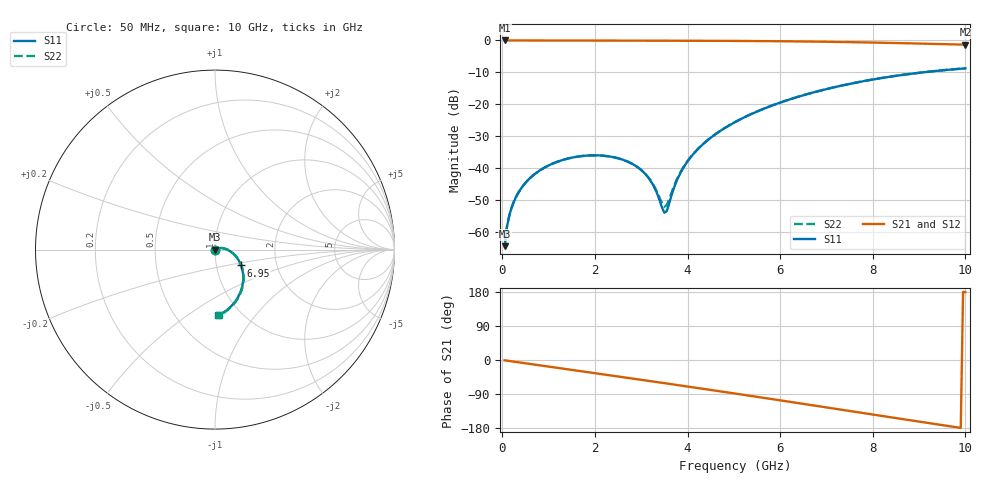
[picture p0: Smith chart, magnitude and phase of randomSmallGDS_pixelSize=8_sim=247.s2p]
! freq	dB(S11)	phase(S11)	dB(S12)	phase(S12)
!  dB(S21)	phase(S21)	dB(S22)	phase(S22)
!S-par simulation data
#  GHz  S  DB  R 50
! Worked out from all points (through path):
!   200 points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, 50 MHz to 10 GHz, reference 50 ohm
!   highest |S21| = 0.00 dB at 50 MHz (marker M1); lowest = -1.3 dB at 10 GHz (marker M2)
!   group delay of S21, straight-line fit = 50.4 ps
!   lowest |S11| = -64.3 dB at 50 MHz (marker M3), VSWR 1.00, Z = 50 - j0.0606 ohm
!   |S11| at or under -10 dB: start of sweep to 9.069 GHz
!   |S22| runs from -64.4 to -8.7 dB; largest |S21 - S12| = 0
!   S11 on the Smith chart (normalised r, x): 50 MHz: 1.00, -0.00; 6.95 GHz: 1.32, -0.24; 10 GHz: 0.79, -0.67
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0.05  -64.35 -88.0  -0.00 -0.9  -0.00 -0.9  -64.35 -88.0
0.1  -58.34 -90.3  -0.00 -1.8  -0.00 -1.8  -58.34 -90.4
0.2  -52.34 -92.9  -0.00 -3.5  -0.00 -3.5  -52.35 -92.9
0.35  -47.54 -95.9  -0.01 -6.1  -0.01 -6.1  -47.55 -96.0
0.5  -44.54 -98.8  -0.01 -8.7  -0.01 -8.7  -44.54 -98.9
1.05  -38.76 -109.2  -0.02 -18.3  -0.02 -18.3  -38.76 -109.4
1.75  -36.11 -122.6  -0.04 -30.4  -0.04 -30.4  -36.11 -123.1
2.35  -36.37 -134.8  -0.05 -40.9  -0.05 -40.9  -36.38 -135.7
2.85  -38.97 -146.8  -0.06 -49.6  -0.06 -49.6  -38.96 -148.6
3.2  -43.85 -161.0  -0.07 -55.8  -0.07 -55.8  -43.73 -164.8
3.4  -50.13 173.5  -0.07 -59.3  -0.07 -59.3  -49.37 166.5
3.5  -53.88 130.5  -0.07 -61.1  -0.07 -61.1  -51.99 127.0
3.55  -53.43 99.2  -0.08 -62.0  -0.08 -62.0  -51.54 101.7
3.8  -42.82 41.4  -0.08 -66.4  -0.08 -66.4  -42.51 45.8
4.05  -36.87 29.1  -0.09 -70.9  -0.09 -70.9  -36.75 31.8
4.45  -31.02 18.0  -0.11 -78.0  -0.11 -78.0  -30.97 19.7
5.05  -25.35 5.2  -0.15 -88.9  -0.15 -88.9  -25.32 6.3
5.8  -20.49 -9.5  -0.22 -102.7  -0.22 -102.7  -20.47 -8.6
6.7  -16.33 -26.6  -0.35 -119.5  -0.35 -119.5  -16.31 -25.8
6.95  -15.39 -31.3  -0.40 -124.2  -0.40 -124.2  -15.37 -30.6
8.35  -11.39 -57.3  -0.76 -150.5  -0.76 -150.5  -11.38 -56.7
10  -8.73 -87.0  -1.32 179.0  -1.32 179.0  -8.72 -86.3
